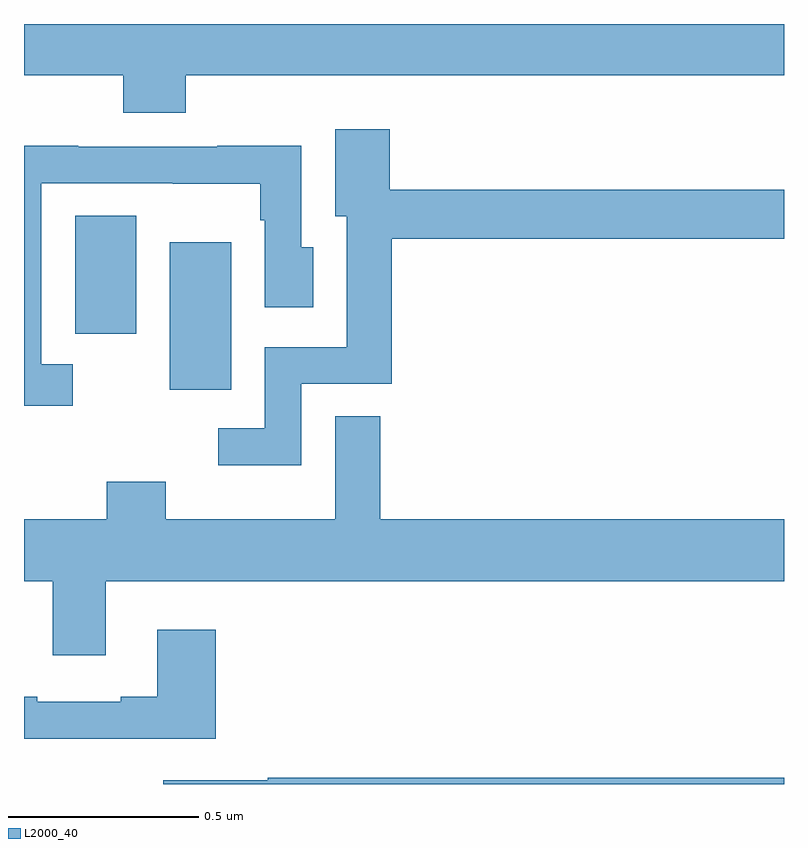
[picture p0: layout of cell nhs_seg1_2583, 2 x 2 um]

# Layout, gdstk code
import gdstk
lib = gdstk.Library(unit=1e-6, precision=1e-09)
def R(c, l, rs):  # rectangles x0, y0, x1, y1
    for r in rs: c.add(gdstk.rectangle(r[:2], r[2:], *l))
def P(c, l, *ps):  # polygons
    for p in ps: c.add(gdstk.Polygon(p, *l))
L2000_40 = (2000, 40)

nhs_seg1_2583 = lib.new_cell('nhs_seg1_2583')
R(nhs_seg1_2583, L2000_40, [(143.384,552.236,143.545,552.625), (143.135,552.384,143.296,552.695)])
P(nhs_seg1_2583, L2000_40, [(143.426,553.064),(145,553.064),(145,553.199),(143,553.199),(143,553.064),(143.261,553.064),(143.261,552.965),(143.426,552.965)],
  [(143.73,552.252),(143.968,552.252),(143.968,552.634),(145,552.634),(145,552.763),(143.963,552.763),(143.963,552.922),(143.819,552.922),(143.819,552.693),(143.849,552.693),(143.849,552.348),(143.634,552.348),(143.634,552.135),(143.511,552.135),(143.511,552.038),(143.73,552.038)],
  [(143.128,552.303),(143.046,552.303),(143.046,552.78),(143.392,552.78),(143.392,552.779),(143.622,552.779),(143.622,552.683),(143.634,552.683),(143.634,552.453),(143.761,552.453),(143.761,552.612),(143.73,552.612),(143.73,552.878),(143.509,552.878),(143.509,552.876),(143.143,552.876),(143.143,552.878),(143,552.878),(143,552.195),(143.128,552.195)],
  [(143.215,551.732),(145,551.732),(145,551.896),(143.938,551.896),(143.938,552.167),(143.819,552.167),(143.819,551.896),(143.373,551.896),(143.373,551.995),(143.218,551.995),(143.218,551.896),(143,551.896),(143,551.732),(143.075,551.732),(143.075,551.538),(143.215,551.538)],
  [(143.504,551.605),(143.351,551.605),(143.351,551.428),(143.255,551.428),(143.255,551.415),(143.035,551.415),(143.035,551.428),(143,551.428),(143,551.318),(143.504,551.318)],
  [(145,551.216),(143.642,551.216),(143.642,551.209),(143.366,551.209),(143.366,551.199),(145,551.199)])

lib.write_gds('nhs_seg1_2583.gds')
